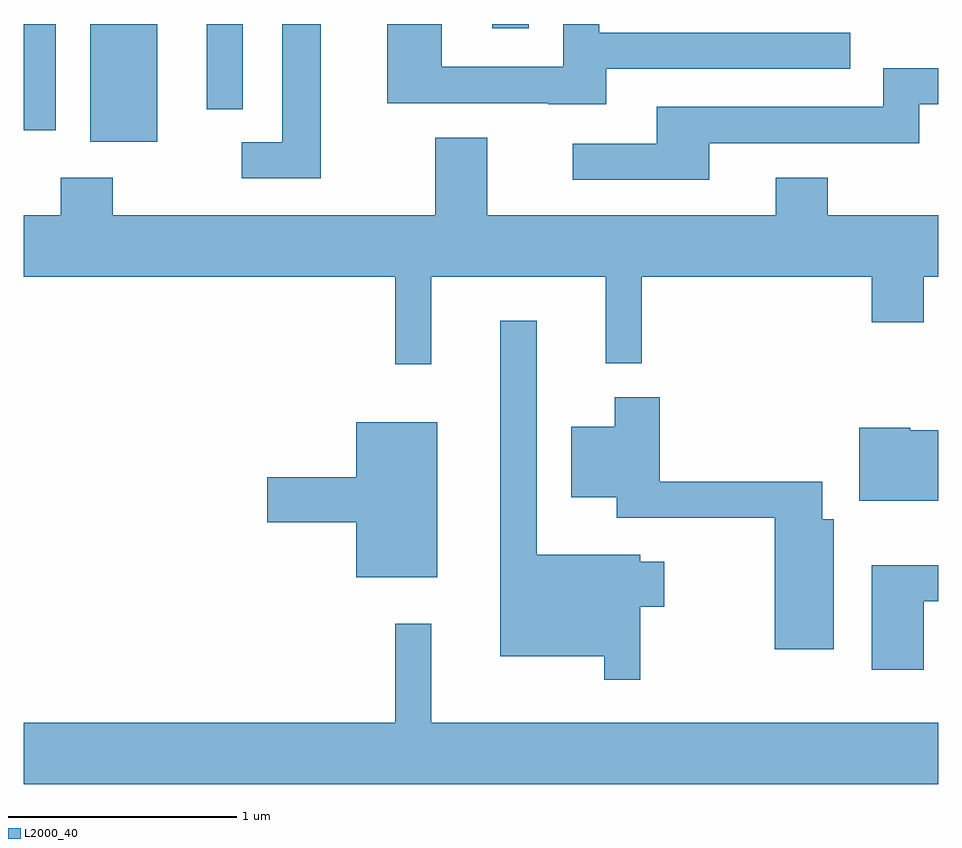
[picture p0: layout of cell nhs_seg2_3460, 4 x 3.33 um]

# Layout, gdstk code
import gdstk
lib = gdstk.Library(unit=1e-6, precision=1e-09)
def R(c, l, rs):  # rectangles x0, y0, x1, y1
    for r in rs: c.add(gdstk.rectangle(r[:2], r[2:], *l))
def P(c, l, *ps):  # polygons
    for p in ps: c.add(gdstk.Polygon(p, *l))
L2000_40 = (2000, 40)

nhs_seg2_3460 = lib.new_cell('nhs_seg2_3460')
R(nhs_seg2_3460, L2000_40, [(285.901,1113.286,286.194,1113.802), (285.611,1113.336,285.749,1113.802), (286.411,1113.428,286.569,1113.802), (287.661,1113.783,287.819,1113.802)])
P(nhs_seg2_3460, L2000_40, [(288.159,1113.606),(289.228,1113.606),(289.228,1113.764),(288.129,1113.764),(288.129,1113.802),(287.971,1113.802),(287.971,1113.614),(287.439,1113.614),(287.439,1113.802),(287.201,1113.802),(287.201,1113.456),(287.905,1113.456),(287.905,1113.451),(288.159,1113.451)],
  [(286.909,1113.802),(286.741,1113.802),(286.741,1113.284),(286.563,1113.284),(286.563,1113.126),(286.909,1113.126)],
  [(288.609,1113.281),(289.529,1113.281),(289.529,1113.451),(289.611,1113.451),(289.611,1113.609),(289.371,1113.609),(289.371,1113.439),(288.381,1113.439),(288.381,1113.279),(288.013,1113.279),(288.013,1113.121),(288.609,1113.121)],
  [(287.394,1112.696),(288.156,1112.696),(288.156,1112.318),(288.314,1112.318),(288.314,1112.696),(289.321,1112.696),(289.321,1112.496),(289.549,1112.496),(289.549,1112.696),(289.611,1112.696),(289.611,1112.964),(289.129,1112.964),(289.129,1113.129),(288.901,1113.129),(288.901,1112.964),(287.639,1112.964),(287.639,1113.304),(287.411,1113.304),(287.411,1112.964),(285.999,1112.964),(285.999,1113.129),(285.771,1113.129),(285.771,1112.964),(285.611,1112.964),(285.611,1112.696),(287.236,1112.696),(287.236,1112.313),(287.394,1112.313)],
  [(288.309,1111.251),(288.414,1111.251),(288.414,1111.449),(288.309,1111.449),(288.309,1111.479),(287.854,1111.479),(287.854,1112.503),(287.696,1112.503),(287.696,1111.036),(288.151,1111.036),(288.151,1110.933),(288.309,1110.933)],
  [(289.154,1111.634),(289.104,1111.634),(289.104,1111.799),(288.394,1111.799),(288.394,1112.169),(288.196,1112.169),(288.196,1112.039),(288.006,1112.039),(288.006,1111.731),(288.206,1111.731),(288.206,1111.641),(288.896,1111.641),(288.896,1111.066),(289.154,1111.066)],
  [(287.419,1112.059),(287.066,1112.059),(287.066,1111.819),(286.676,1111.819),(286.676,1111.621),(287.066,1111.621),(287.066,1111.381),(287.419,1111.381)],
  [(289.611,1112.024),(289.49,1112.024),(289.49,1112.034),(289.266,1112.034),(289.266,1111.716),(289.611,1111.716)],
  [(289.549,1111.276),(289.611,1111.276),(289.611,1111.434),(289.321,1111.434),(289.321,1110.976),(289.549,1110.976)],
  [(289.611,1110.744),(287.394,1110.744),(287.394,1111.178),(287.236,1111.178),(287.236,1110.744),(285.611,1110.744),(285.611,1110.476),(289.611,1110.476)])

lib.write_gds('nhs_seg2_3460.gds')
